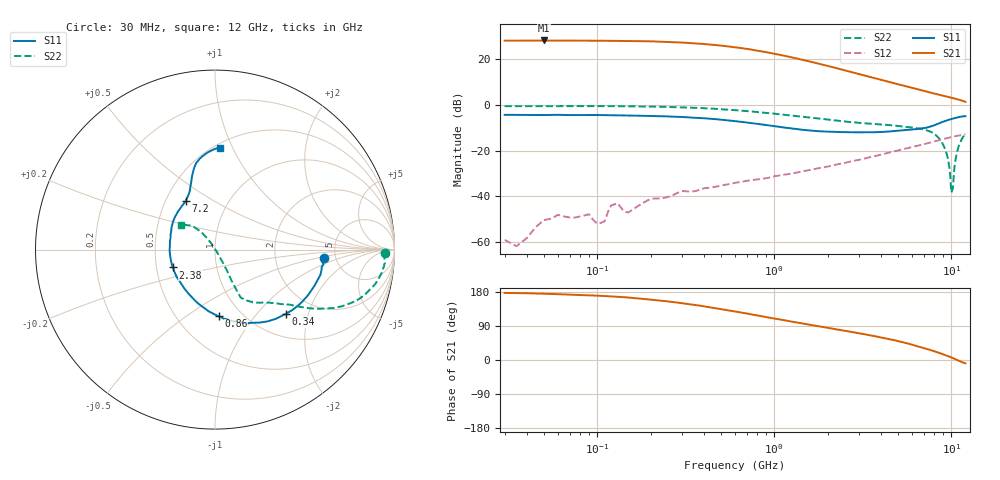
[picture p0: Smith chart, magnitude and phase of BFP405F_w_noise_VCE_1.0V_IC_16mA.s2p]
! Infineon Technologies  Discrete & RF Semiconductors
! BFP405F
! VCE =  1.0 V,  IC =  16 mA
! Common Emitter S-Parameters:  Nov 2015
# GHz  S  MA  R  50
!  f  S11  S21  S12  S22
! GHz  MAG  ANG  MAG  ANG  MAG  ANG  MAG  ANG
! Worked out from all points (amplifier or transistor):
!   239 points, 30 MHz to 12 GHz, reference 50 ohm
!   highest |S21| = 28.3 dB at 50 MHz (marker M1)
!   |S21| within 3 dB of that: start of sweep to 601.2 MHz
!   unconditionally stable (mu >= 1): start of sweep to 41.05 MHz; 1.502 GHz to end of sweep
!   at 300 MHz: K = 0.34, MSG = 32.6 dB, |S12| = -37.7 dB
!   at 1.88 GHz: K = 1.13, MAG = 20.4 dB, |S12| = -27.4 dB
!   at 12 GHz: K = 1.43, MAG = 3.2 dB, |S12| = -12.9 dB
!   lowest NFmin = 2.03 dB at 450 MHz
!   S11 on the Smith chart (normalised r, x): 30 MHz: 4.04, -0.57; 340 MHz: 1.45, -1.45; 860 MHz: 0.79, -0.68; 2.38 GHz: 0.61, -0.13; 7.2 GHz: 0.63, +0.38; 12 GHz: 0.54, +0.90
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0.03  0.6099 -4.2  25.84 177.0  0.0011 -12.0  0.9448 -1.0
0.035  0.6081 -4.8  25.89 176.6  0.0008 35.3  0.9463 -1.2
0.05  0.6034 -6.6  26.14 174.7  0.003 80.3  0.9463 -2.0
0.085  0.6039 -11.2  25.85 171.1  0.0038 136.3  0.9495 -4.0
0.15  0.5897 -20.0  25.5 164.8  0.0044 68.4  0.9397 -7.6
0.2  0.5774 -26.1  25.03 159.3  0.0088 85.5  0.9246 -10.3
0.24  0.5659 -30.9  24.38 155.6  0.0092 74.2  0.9132 -12.1
0.34  0.5327 -42.2  22.84 146.7  0.0126 75.9  0.8755 -16.3
0.45  0.4965 -53.6  21.02 138.0  0.0157 73.2  0.8323 -20.2
0.6  0.4441 -67.3  18.52 128.0  0.0196 68.4  0.7722 -24.2
0.7  0.4139 -75.2  17.06 122.5  0.0217 67.9  0.737 -26.2
0.86  0.3724 -86.8  14.93 115.0  0.0241 65.8  0.6852 -28.7
1.2  0.3131 -108.0  11.56 102.8  0.0306 63.7  0.6007 -32.6
1.64  0.2734 -129.8  8.747 91.9  0.0385 64.3  0.5258 -36.0
2.38  0.2554 -157.1  6.077 78.9  0.0519 63.6  0.4446 -42.2
4.5  0.2639 158.7  3.17 54.8  0.0909 57.4  0.3626 -54.1
7.2  0.3172 120.8  1.985 29.7  0.1421 45.2  0.2809 -62.0
9.2  0.4452 106.1  1.57 13.3  0.1826 34.6  0.1094 -59.7
9.8  0.4818 103.3  1.481 8.4  0.1947 31.1  0.0367 -56.4
10  0.4934 102.3  1.454 6.7  0.1988 29.9  0.0121 -47.9
10.8  0.5336 96.0  1.344 -0.2  0.2118 24.6  0.0972 126.5
12  0.5688 87.0  1.176 -8.8  0.2272 18.5  0.2349 143.5
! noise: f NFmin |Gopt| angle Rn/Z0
0.45  2.03  0.08  1  0.37
0.9  2.05  0.07  3  0.39
1.5  2.1  0.06  5  0.16
1.9  2.15  0.05  6  0.27
2.4  2.3  0.02  -8  0.38
3  2.38  0.02  -67  0.22
3.5  2.44  0.03  -99  0.35
4.5  2.65  0.09  -97  0.43
5.5  2.93  0.18  -88  0.16
